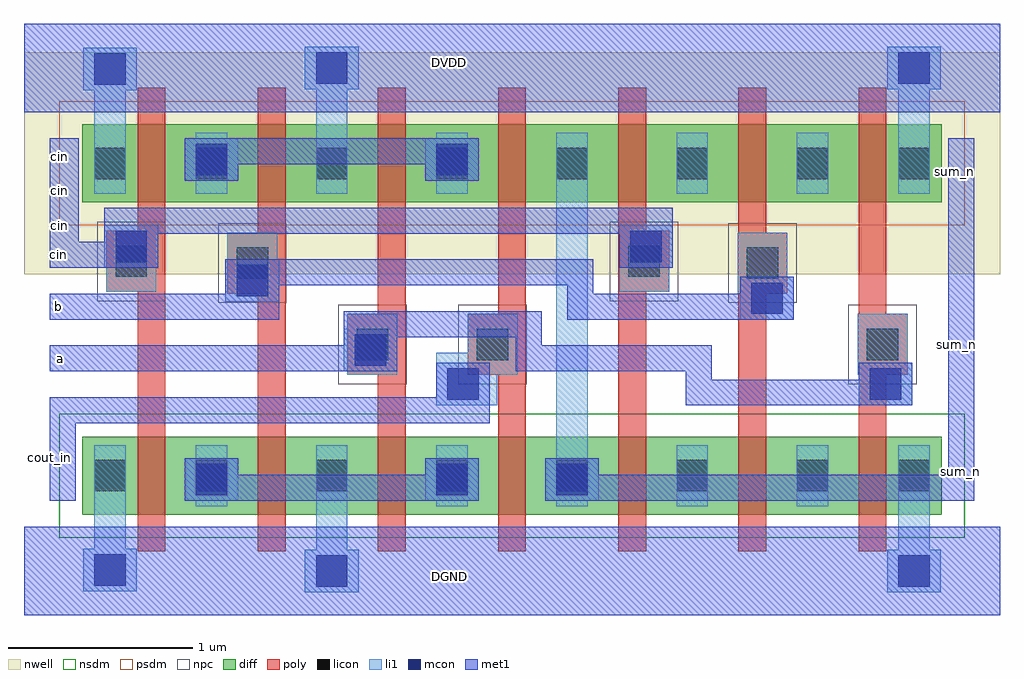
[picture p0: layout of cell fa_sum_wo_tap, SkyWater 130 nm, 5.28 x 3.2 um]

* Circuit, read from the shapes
.subckt fa_sum_wo_tap DGND DVDD a b cin cout_in sum_n
XM1 n1 cin DGND VSUBS sky130_fd_pr__nfet_01v8 w=0.42 l=0.15
XM2 DGND b n1 VSUBS sky130_fd_pr__nfet_01v8 w=0.42 l=0.15
XM3 n1 a DGND VSUBS sky130_fd_pr__nfet_01v8 w=0.42 l=0.15
XM4 sum_n cout_in n1 VSUBS sky130_fd_pr__nfet_01v8 w=0.42 l=0.15
XM5 n2 cin sum_n VSUBS sky130_fd_pr__nfet_01v8 w=0.42 l=0.15
XM6 n3 b n2 VSUBS sky130_fd_pr__nfet_01v8 w=0.42 l=0.15
XM7 DGND a n3 VSUBS sky130_fd_pr__nfet_01v8 w=0.42 l=0.15
XM8 n4 cin DVDD n5 sky130_fd_pr__pfet_01v8 w=0.42 l=0.15
XM9 DVDD b n4 n5 sky130_fd_pr__pfet_01v8 w=0.42 l=0.15
XM10 n4 a DVDD n5 sky130_fd_pr__pfet_01v8 w=0.42 l=0.15
XM11 sum_n cout_in n4 n5 sky130_fd_pr__pfet_01v8 w=0.42 l=0.15
XM12 n6 cin sum_n n5 sky130_fd_pr__pfet_01v8 w=0.42 l=0.15
XM13 n7 b n6 n5 sky130_fd_pr__pfet_01v8 w=0.42 l=0.15
XM14 DVDD a n7 n5 sky130_fd_pr__pfet_01v8 w=0.42 l=0.15
.ends

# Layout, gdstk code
from math import pi, radians
import gdstk
lib = gdstk.Library(unit=1e-6, precision=1e-09)
def R(c, l, rs):  # rectangles x0, y0, x1, y1
    for r in rs: c.add(gdstk.rectangle(r[:2], r[2:], *l))
def A(c, l, x, y, w, h, nx, ny, dx, dy):  # array of equal rectangles
    R(c, l, [(x+i*dx, y+j*dy, x+i*dx+w, y+j*dy+h) for i in range(nx) for j in range(ny)])
nwell = (64, 20)
diff = (65, 20)
poly = (66, 20)
licon = (66, 44)
li1 = (67, 20)
mcon = (67, 44)
met1 = (68, 20)
nsdm = (93, 44)
psdm = (94, 20)
npc = (95, 20)

nfet_1 = lib.new_cell('nfet$1')
R(nfet_1, diff, [(0,0,4.65,0.42)])
A(nfet_1, poly, 0.3, -0.2, 0.15, 0.82, 7, 1, 0.65, 0)
A(nfet_1, licon, 0.615, 0.125, 0.17, 0.17, 6, 1, 0.65, 0)
R(nfet_1, licon, [(0.065,0.125,0.235,0.295), (4.415,0.125,4.585,0.295)])
A(nfet_1, li1, 0.615, 0.045, 0.17, 0.33, 6, 1, 0.65, 0)
R(nfet_1, li1, [(0.065,0.045,0.235,0.375), (4.415,0.045,4.585,0.375)])
R(nfet_1, nsdm, [(-0.125,-0.125,4.775,0.545)])

vias_gen_1 = lib.new_cell('vias_gen$1')
R(vias_gen_1, li1, [(0,0,0.29,0.23)])
R(vias_gen_1, mcon, [(0.06,0.03,0.23,0.2)])
R(vias_gen_1, met1, [(0,0,0.29,0.23)])

vias_gen_2 = lib.new_cell('vias_gen$2')
R(vias_gen_2, poly, [(0,0,0.33,0.27)])
R(vias_gen_2, licon, [(0.08,0.05,0.25,0.22)])
R(vias_gen_2, li1, [(0,0,0.33,0.27)])
R(vias_gen_2, npc, [(-0.05,-0.05,0.38,0.32)])

vias_gen_3 = lib.new_cell('vias_gen$3')
R(vias_gen_3, li1, [(0,0,0.29,0.23)])
R(vias_gen_3, mcon, [(0.06,0.03,0.23,0.2)])
R(vias_gen_3, met1, [(0,0,0.29,0.23)])

vias_gen_4 = lib.new_cell('vias_gen$4')
R(vias_gen_4, li1, [(0,0,0.29,0.23)])
R(vias_gen_4, mcon, [(0.06,0.03,0.23,0.2)])
R(vias_gen_4, met1, [(0,0,0.29,0.23)])

pfet_1 = lib.new_cell('pfet$1')
R(pfet_1, nwell, [(-0.315,-0.39,4.965,0.81)])
R(pfet_1, diff, [(0,0,4.65,0.42)])
A(pfet_1, poly, 0.3, -0.2, 0.15, 0.82, 7, 1, 0.65, 0)
A(pfet_1, licon, 0.615, 0.125, 0.17, 0.17, 6, 1, 0.65, 0)
R(pfet_1, licon, [(0.065,0.125,0.235,0.295), (4.415,0.125,4.585,0.295)])
A(pfet_1, li1, 0.615, 0.045, 0.17, 0.33, 6, 1, 0.65, 0)
R(pfet_1, li1, [(0.065,0.045,0.235,0.375), (4.415,0.045,4.585,0.375)])
R(pfet_1, psdm, [(-0.125,-0.125,4.775,0.545)])

vias_gen_5 = lib.new_cell('vias_gen$5')
R(vias_gen_5, li1, [(0,0,0.29,0.23)])
R(vias_gen_5, mcon, [(0.06,0.03,0.23,0.2)])
R(vias_gen_5, met1, [(0,0,0.29,0.23)])

fa_sum_wo_tap = lib.new_cell('fa_sum_wo_tap')
R(fa_sum_wo_tap, li1, [(-1.645,0.27,-1.605,0.435), (-1.935,0.5,-1.765,0.555)])
R(fa_sum_wo_tap, met1, [(-4.165,-0.865,1.115,-0.385), (-4.025,-0.245,-3.885,0.175), (-4.025,1.155,-3.87,1.715), (-4.165,1.855,1.115,2.335)])
fa_sum_wo_tap.add(gdstk.FlexPath([(-2.5,1.745),(-2.5,1.98)], 0.17, ends="flush", simple_path=True, layer=67, datatype=20))  # li1
fa_sum_wo_tap.add(gdstk.FlexPath([(-3.7,1.74),(-3.7,1.975)], 0.17, ends="flush", simple_path=True, layer=67, datatype=20))  # li1
fa_sum_wo_tap.add(gdstk.FlexPath([(0.65,1.745),(0.65,1.98)], 0.17, ends="flush", simple_path=True, layer=67, datatype=20))  # li1
fa_sum_wo_tap.add(gdstk.FlexPath([(-1.2,1.415),(-1.2,0.055)], 0.17, ends="flush", simple_path=True, layer=67, datatype=20))  # li1
fa_sum_wo_tap.add(gdstk.FlexPath([(-2.5,-0.275),(-2.5,-0.51)], 0.17, ends="flush", simple_path=True, layer=67, datatype=20))  # li1
fa_sum_wo_tap.add(gdstk.FlexPath([(-3.7,-0.27),(-3.7,-0.505)], 0.17, ends="flush", simple_path=True, layer=67, datatype=20))  # li1
fa_sum_wo_tap.add(gdstk.FlexPath([(0.65,-0.275),(0.65,-0.51)], 0.17, ends="flush", simple_path=True, layer=67, datatype=20))  # li1
fa_sum_wo_tap.add(gdstk.FlexPath([(-1.055,-0.175),(0.905,-0.175),(0.905,1.715)], 0.14, ends="flush", simple_path=True, layer=68, datatype=20))  # met1
fa_sum_wo_tap.add(gdstk.FlexPath([(-2.785,0.805),(-4.025,0.805)], 0.14, ends="flush", simple_path=True, layer=68, datatype=20))  # met1
fa_sum_wo_tap.add(gdstk.FlexPath([(-2.435,0.525),(-4.025,0.525)], 0.14, ends="flush", simple_path=True, layer=68, datatype=20))  # met1
fa_sum_wo_tap.add(gdstk.FlexPath([(-3.73,1.085),(-4.025,1.085)], 0.14, ends="flush", simple_path=True, layer=68, datatype=20))  # met1
fa_sum_wo_tap.add(gdstk.FlexPath([(-1.645,0.245),(-4.025,0.245)], 0.14, ends="flush", simple_path=True, layer=68, datatype=20))  # met1
fa_sum_wo_tap.add(gdstk.FlexPath([(-3.005,-0.175),(-1.995,-0.175)], 0.14, ends="flush", simple_path=True, layer=68, datatype=20))  # met1
fa_sum_wo_tap.add(gdstk.FlexPath([(-3.005,1.645),(-1.995,1.645)], 0.14, ends="flush", simple_path=True, layer=68, datatype=20))  # met1
fa_sum_wo_tap.add(gdstk.FlexPath([(-3.73,1.27),(-0.655,1.27)], 0.14, ends="flush", simple_path=True, layer=68, datatype=20))  # met1
fa_sum_wo_tap.add(gdstk.FlexPath([(-1.085,0.805),(-0.29,0.805)], 0.14, ends="flush", simple_path=True, layer=68, datatype=20))  # met1
fa_sum_wo_tap.add(gdstk.FlexPath([(-1.155,0.735),(-1.155,1.06)], 0.14, ends="flush", simple_path=True, layer=68, datatype=20))  # met1
fa_sum_wo_tap.add(gdstk.FlexPath([(-1.225,0.99),(-2.785,0.99)], 0.14, ends="flush", simple_path=True, layer=68, datatype=20))  # met1
fa_sum_wo_tap.add(gdstk.FlexPath([(-0.445,0.34),(0.35,0.34)], 0.14, ends="flush", simple_path=True, layer=68, datatype=20))  # met1
fa_sum_wo_tap.add(gdstk.FlexPath([(-0.515,0.27),(-0.515,0.595)], 0.14, ends="flush", simple_path=True, layer=68, datatype=20))  # met1
fa_sum_wo_tap.add(gdstk.FlexPath([(-0.585,0.525),(-1.365,0.525)], 0.14, ends="flush", simple_path=True, layer=68, datatype=20))  # met1
fa_sum_wo_tap.add(gdstk.FlexPath([(-1.435,0.455),(-1.435,0.71),(-2.435,0.71)], 0.14, ends="flush", simple_path=True, layer=68, datatype=20))  # met1
fa_sum_wo_tap.add(gdstk.FlexPath([(0.425,0.3),(0.425,1.17)], 0.15, ends="flush", simple_path=True, layer=66, datatype=20))  # poly
fa_sum_wo_tap.add(gdstk.FlexPath([(-0.225,0.3),(-0.225,1.17)], 0.15, ends="flush", simple_path=True, layer=66, datatype=20))  # poly
fa_sum_wo_tap.add(gdstk.FlexPath([(-0.875,0.3),(-0.875,1.17)], 0.15, ends="flush", simple_path=True, layer=66, datatype=20))  # poly
fa_sum_wo_tap.add(gdstk.FlexPath([(-1.525,0.3),(-1.525,1.17)], 0.15, ends="flush", simple_path=True, layer=66, datatype=20))  # poly
fa_sum_wo_tap.add(gdstk.FlexPath([(-2.175,0.3),(-2.175,1.17)], 0.15, ends="flush", simple_path=True, layer=66, datatype=20))  # poly
fa_sum_wo_tap.add(gdstk.FlexPath([(-2.825,0.3),(-2.825,1.17)], 0.15, ends="flush", simple_path=True, layer=66, datatype=20))  # poly
fa_sum_wo_tap.add(gdstk.FlexPath([(-3.475,0.3),(-3.475,1.17)], 0.15, ends="flush", simple_path=True, layer=66, datatype=20))  # poly
fa_sum_wo_tap.add(gdstk.Reference(nfet_1, (-3.85,-0.32)))
fa_sum_wo_tap.add(gdstk.Reference(vias_gen_1, (-2.645,-0.74)))
fa_sum_wo_tap.add(gdstk.Reference(vias_gen_1, (-3.845,-0.735)))
fa_sum_wo_tap.add(gdstk.Reference(vias_gen_2, (-3.45,0.885), rotation=pi/2))
fa_sum_wo_tap.add(gdstk.Reference(vias_gen_2, (-2.795,0.875), rotation=pi/2))
fa_sum_wo_tap.add(gdstk.Reference(vias_gen_2, (-2.145,0.435), rotation=pi/2))
fa_sum_wo_tap.add(gdstk.Reference(vias_gen_3, (0.505,-0.74)))
fa_sum_wo_tap.add(gdstk.Reference(vias_gen_2, (-0.675,0.885), rotation=pi/2))
fa_sum_wo_tap.add(gdstk.Reference(vias_gen_2, (-1.495,0.435), rotation=pi/2))
fa_sum_wo_tap.add(gdstk.Reference(vias_gen_4, (-3.73,1.015)))
fa_sum_wo_tap.add(gdstk.Reference(vias_gen_2, (0.615,0.435), rotation=pi/2))
fa_sum_wo_tap.add(gdstk.Reference(vias_gen_4, (-2.645,2.21), x_reflection=True))
fa_sum_wo_tap.add(gdstk.Reference(vias_gen_4, (-0.945,1.015)))
fa_sum_wo_tap.add(gdstk.Reference(vias_gen_2, (-0.035,0.875), rotation=pi/2))
fa_sum_wo_tap.add(gdstk.Reference(vias_gen_3, (-3.295,-0.245)))
fa_sum_wo_tap.add(gdstk.Reference(vias_gen_4, (-3.075,0.83)))
fa_sum_wo_tap.add(gdstk.Reference(vias_gen_4, (-0.29,0.735)))
fa_sum_wo_tap.add(gdstk.Reference(pfet_1, (-3.85,1.37)))
fa_sum_wo_tap.add(gdstk.Reference(vias_gen_4, (-3.845,2.205), x_reflection=True))
fa_sum_wo_tap.add(gdstk.Reference(vias_gen_4, (0.505,2.21), x_reflection=True))
fa_sum_wo_tap.add(gdstk.Reference(vias_gen_4, (-1.995,-0.245)))
fa_sum_wo_tap.add(gdstk.Reference(vias_gen_4, (-3.295,1.715), x_reflection=True))
fa_sum_wo_tap.add(gdstk.Reference(vias_gen_4, (-1.995,1.715), x_reflection=True))
fa_sum_wo_tap.add(gdstk.Reference(vias_gen_4, (-2.435,0.455)))
fa_sum_wo_tap.add(gdstk.Reference(vias_gen_4, (0.35,0.27)))
fa_sum_wo_tap.add(gdstk.Reference(vias_gen_4, (-1.935,0.27)))
fa_sum_wo_tap.add(gdstk.Reference(vias_gen_5, (-1.345,-0.245)))
fa_sum_wo_tap.add(gdstk.Label('sum_n', (0.87,1.535), layer=68, texttype=5))
fa_sum_wo_tap.add(gdstk.Label('sum_n', (0.88,0.6), layer=68, texttype=5))
fa_sum_wo_tap.add(gdstk.Label('sum_n', (0.9,-0.085), layer=68, texttype=5))
fa_sum_wo_tap.add(gdstk.Label('cin', (-3.975,1.615), layer=68, texttype=5))
fa_sum_wo_tap.add(gdstk.Label('cin', (-3.975,1.435), layer=68, texttype=5))
fa_sum_wo_tap.add(gdstk.Label('cin', (-3.975,1.245), layer=68, texttype=5))
fa_sum_wo_tap.add(gdstk.Label('cin', (-3.98,1.085), layer=68, texttype=5))
fa_sum_wo_tap.add(gdstk.Label('b', (-3.98,0.805), layer=68, texttype=5))
fa_sum_wo_tap.add(gdstk.Label('a', (-3.965,0.525), layer=68, texttype=5))
fa_sum_wo_tap.add(gdstk.Label('cout_in', (-4.025,-0.01), layer=68, texttype=5))
fa_sum_wo_tap.add(gdstk.Label('DVDD', (-1.865,2.125), layer=68, texttype=5))
fa_sum_wo_tap.add(gdstk.Label('DGND', (-1.865,-0.655), layer=68, texttype=5))

lib.write_gds('fa_sum_wo_tap.gds')
